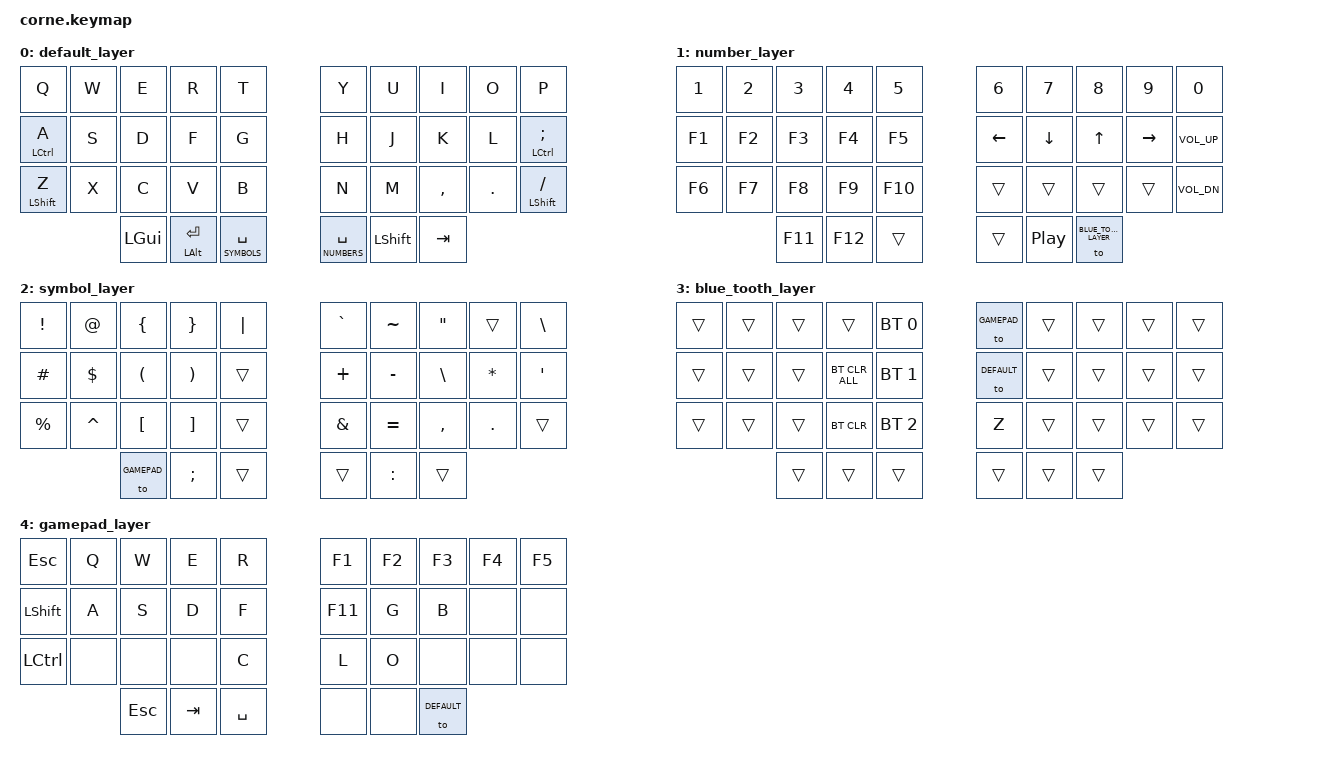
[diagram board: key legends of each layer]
#include <behaviors.dtsi>
#include <dt-bindings/zmk/mouse.h>
#include <dt-bindings/zmk/keys.h>
#include <dt-bindings/zmk/mouse.h>
#include <dt-bindings/zmk/bt.h>

#define DEFAULT 0
#define NUMBERS 1
#define SYMBOLS 2
#define BLUE_TOOTH_LAYER 3
#define GAMEPAD 4

#define COMBO_DELAY 50


/ {
	chosen {
		zmk,matrix-transform = &five_column_transform;
	};
// Combomap
// ╭───────┬─────┬─────┬─────┬─────╮      ╭─────┬─────┬─────┬─────┬───────╮
// │       │    ESC    │     │     │      │     │    ESC    │     \       │
// ├───────┼─────┼─────┼─────┼─────┤      ├─────┼─────┼─────┼─────┼───────┤
// │       │BackSpace Tab    │     │      │     <     :     >     │       │
// ├───────┼─────┼─────┼─RMB─┼─LMB─┤      ├ENTER┼─────┼─────┼─────┼───────┤
// │       │     -   ENTER   │     │      │     '     _     │     │       │
// ╰───────┴─────┴─────┴─────┴─────╯      ╰─────┴─────┴─────┴─────┴───────╯
//            ╭─────┬─────┬─────╮            ╭─────┬─────┬─────╮
//            │     │     │     │            │     │     │     │
//            ╰─────┴─────┴─────╯            ╰─────┴─────┴─────╯
	combos {
		compatible = "zmk,combos";
		combo_backslash {
		    timeout-ms = <COMBO_DELAY>;
		    key-positions = <8 9>; // op
		    bindings = <&kp BSLH>;
		    layers = <DEFAULT>;
		};
		combo_backspace {
		    timeout-ms = <COMBO_DELAY>;
		    key-positions = <11 12>; // sd
		    bindings = <&kp BSPC>;
		    layers = <DEFAULT>;
		};
		combo_ecs {
		    timeout-ms = <COMBO_DELAY>;
		    key-positions = <1 2>;  // we
		    bindings = <&kp ESC>;
		    layers = <DEFAULT>;
		};
		combo_less_than {
		    timeout-ms = <COMBO_DELAY>;
		    key-positions = <15 16>;  // hj
		    bindings = <&kp LT>;
		    layers = <DEFAULT>;
		};
		combo_colon {
		    timeout-ms = <COMBO_DELAY>;
		    key-positions = <16 17>;  // jk
		    bindings = <&kp COLON>;
		    layers = <DEFAULT>;
		};
		combo_greater_than {
		    timeout-ms = <COMBO_DELAY>;
		    key-positions = <17 18>;  // kl
		    bindings = <&kp GT>;
		    layers = <DEFAULT>;
		};
		combo_underscore {
		    timeout-ms = <COMBO_DELAY>;
		    key-positions = <26 27>;  // m,
		    bindings = <&kp UNDERSCORE>;
		    layers = <DEFAULT>;
		};
		combo_delete {
		    timeout-ms = <COMBO_DELAY>;
		    key-positions = <21 22>;  // xc
		    bindings = <&kp DELETE>;
		    layers = <DEFAULT>;
		};
	};

        keymap {
                compatible = "zmk,keymap";

                default_layer {
                        bindings = <
//       ╭────────────┬─────┬─────┬─────┬─────╮   ╭─────┬─────┬─────────┬───────┬───────────────╮
//       │      0     │  1  │  2  │  3  │  4  │   │  5  │  6  │    7    │  8    │       9       │
//       │      Q     │  W  │  E  │  R  │  T  │   │  Y  │  U  │    I    │  O    │       P       │
             &kp Q     &kp W &kp E &kp R &kp T     &kp Y &kp U   &kp I   &kp O       &kp P
//       ├────────────┼─────┼─────┼─────┼─────┤   ├─────┼─────┼─────────┼───────┼───────────────┤
//       │     10     │  11 │  12 │  13 │  14 │   │  15 │  16 │   17    │  18   │      19       │
//       │   CTRL A   │  S  │  D  │  F  │  G  │   │  H  │  J  │    K    │  L    │    CTRL ;     │
          &mt LCTRL A  &kp S &kp D &kp F &kp G     &kp H &kp J   &kp K    &kp L   &mt LCTRL SEMI
//       ├────────────┼─────┼─────┼─────┼─────┤   ├─────┼─────┼─────────┼───────┼───────────────┤
//       │    20      │  21 │  22 │  23 │  24 │   │  25 │  26 │   27    │  28   │      29       │
//       │   SHFT Z   │  X  │  C  │  V  │  B  │   │  N  │  M  │    ,    │  .    │    SHFT /     │
          &mt LSHIFT Z &kp X &kp C &kp V &kp B     &kp N &kp M &kp COMMA &kp DOT &mt LSHIFT FSLH
//       ╰────────────┴─────┴─────┴─────┴─────╯   ╰─────┴─────┴─────────┴───────┴───────────────╯
// ╭───────────┬────────────┬─────────────────╮   ╭─────────────────┬──────────┬─────────╮
// │           │            │                 │   │                 │          │         │
// │   META    │ ENT ALT    │   SPC SPE       │   │    SPC NUM      │ SHFT     │ TAB     │
     &kp LGUI   &mt LALT RET &lt SYMBOLS SPACE     &lt NUMBERS SPACE &kp LSHIFT  &kp TAB
// ╰───────────┴────────────┴─────────────────╯   ╰─────────────────┴──────────┴─────────╯
                        >;
                };

                number_layer {
                        bindings = <
// ╭────────────┬──────┬──────┬──────┬──────╮      ╭───────────────┬──────────────┬────────────┬───────────────┬─────────────╮
// │     0      │  1   │  2   │  3   │  4   │      │      5        │  6           │  7         │       8       │     9       │
// │     1      │  2   │  3   │  4   │  5   │      │      6        │  7           │  8         │       9       │     0       │
      &kp N1     &kp N2 &kp N3 &kp N4 &kp N5           &kp N6        &kp N7         &kp N8          &kp N9        &kp N0
// ├────────────┼──────┼──────┼──────┼──────┤      ├───────────────┼──────────────┼────────────┼───────────────┼─────────────┤
// │   10       │  11  │  12  │  13  │  14  │      │     15        │     16       │    17      │    18         │    19       │
// │   F1       │  F2  │  F3  │  F4  │  F5  │      │    LEFT       │    DOWN      │    UP      │    RIGHT      │   Vol Up    │
    &kp F1       &kp F2 &kp F3 &kp F4 &kp F5          &kp LEFT         &kp DOWN      &kp UP       &kp RIGHT     &kp C_VOL_UP
// ├────────────┼──────┼──────┼──────┼──────┤      ├───────────────┼──────────────┼────────────┼───────────────┼─────────────┤
// │     20     │  21  │  22  │  23  │  24  │      │  25           │    26        │  27        │  28           │   29        │
// │     F6     │  F7  │  F8  │  F9  │  F10 │      │  Mouse Left   │ Mouse Down   │Mouse Up    │Mouse Right    │  Vol Down   │
//     &kp F6    &kp F7 &kp F8 &kp F9 &kp F10       &mmv MOVE_LEFT  &mmv MOVE_DOWN &mmv MOVE_UP &mmv MOVE_RIGHT &kp C_VOL_DN
       &kp F6    &kp F7 &kp F8 &kp F9 &kp F10           &trans          &trans       &trans        &trans       &kp C_VOL_DN
// ╰────────────┴──────┴──────┴──────┴──────╯      ╰───────────────┴──────────────┴────────────┴───────────────┴─────────────╯
//  ╭───────────┬─────────┬─────────────────╮      ╭─────────────────┬────────────┬─────────╮
//  │           │         │                 │      │                 │            │         │
//  │    F11    │   F12   │      SPC SPE    │      │ SPC NUM         │ Play/Pause │         │
      &kp F11     &kp F12  &trans                    &trans            &kp C_PP    &to BLUE_TOOTH_LAYER
//  ╰───────────┴─────────┴─────────────────╯      ╰─────────────────┴────────────┴─────────╯
                                          >;
                };

                symbol_layer {
// -----------------------------------------------------------------------------------------
                        bindings = <
// ╭───────────┬─────────┬────────┬────────┬────────╮      ╭─────────┬──────────┬─────────┬──────────┬─────────╮
// │     0     │    1    │  2     │  3     │  4     │      │   5     │    6     │   7     │  8       │     9   │
// │     !     │    @    │  {     │  }     │  |     │      │   `     │    ~     │   "     │          │     \   │
     &kp EXCL     &kp AT  &kp LBRC &kp RBRC &kp PIPE        &kp GRAVE &kp TILDE  &kp DQT   &trans     &kp BSLH
// ├───────────┼─────────┼────────┼────────┼────────┤      ├─────────┼──────────┼─────────┼──────────┼─────────┤
// │   10      │  11     │  12    │  13    │  14    │      │   15    │    16    │   17    │  18      │    19   │
// │   #       │   $     │  (     │  )     │        │      │   +     │    -     │   /     │   *      │    '    │
    &kp HASH    &kp DLLR  &kp LPAR &kp RPAR &trans          &kp PLUS  &kp MINUS  &kp BSLH  &kp STAR   &kp APOS
// ├───────────┼─────────┼────────┼────────┼────────┤      ├─────────┼──────────┼─────────┼──────────┼─────────┤
// │     20    │  21     │  22    │  23    │  24    │      │   25    │    26    │   27    │    28    │   29    │
// │     %     │   ^     │   [    │   ]    │        │      │   &     │    =     │   ,     │     .    │         │
     &kp PRCNT  &kp CARET &kp LBKT &kp RBKT &trans          &kp AMPS  &kp EQUAL  &kp COMMA   &kp DOT  &trans
// ╰───────────┴─────────┴────────┴────────┴────────╯      ╰─────────┴──────────┴─────────┴──────────┴─────────╯
//          ╭───────────┬─────────┬─────────────────╮      ╭─────────────────┬────────────┬─────────╮
//          │           │         │                 │      │                 │            │         │
//          │           │   ;     │                 │      │    SPC NUM      │     :      │         │
             &to GAMEPAD &kp SEMI     &trans                     &trans        &kp COLON    &trans
//          ╰───────────┴─────────┴─────────────────╯      ╰─────────────────┴────────────┴─────────╯
		   >;
                };

                blue_tooth_layer {
// -----------------------------------------------------------------------------------------
                   bindings = <
   &trans &trans &trans &trans         &bt BT_SEL 0      &to GAMEPAD &trans &trans &trans &trans
   &trans &trans &trans &bt BT_CLR_ALL &bt BT_SEL 1      &to DEFAULT &trans &trans &trans &trans
   &trans &trans &trans &bt BT_CLR     &bt BT_SEL 2      &kp Z       &trans &trans &trans &trans
                 &trans &trans         &trans            &trans      &trans &trans>;
		};
		gamepad_layer {
// -----------------------------------------------------------------------------------------
// Keymap 3: Game Layer
//
// ╭───────┬─────┬─────┬─────┬─────╮        ╭─────┬─────┬─────┬─────┬───────╮
// │  ESC  │  Q  │  W  │  E  │  R  │        │  F1 │  F2 │  F3 │  F4 │   F5  │
// ├───────┼─────┼─────┼─────┼─────┤        ├─────┼─────┼─────┼─────┼───────┤
// │ SHIFT │  A  │  S  │  D  │  F  │        │ F11 │  G  │  B  │     │       │
// ├───────┼─────┼─────┼─────┼─────┤        ├─────┼─────┼─────┼─────┼───────┤
// │ CTRL  │     │     │     │  C  │        │  L  │  O  │     │     │       │
// ╰───────┴─────┴─────┴─────┴─────╯        ╰─────┴─────┴─────┴─────┴───────╯
//            ╭─────┬─────┬─────╮             ╭─────┬─────┬────────────╮
//            │ ESC │ TAB │ SPC │             │     │     │ ToggleGame │
//            ╰─────┴─────┴─────╯             ╰─────┴─────┴────────────╯
		    bindings = <
   &kp ESC    &kp Q &kp W &kp E &kp R        &kp F1  &kp F2 &kp F3 &kp F4 &kp F5
   &kp LSHIFT &kp A &kp S &kp D &kp F        &kp F11 &kp G  &kp B  &none &none
   &kp LCTRL  &none &none &none &kp C        &kp L   &kp O  &none &none &none
            &kp ESC &kp TAB &kp SPACE        &none   &none  &to DEFAULT
		    >;
		};
        };
};
